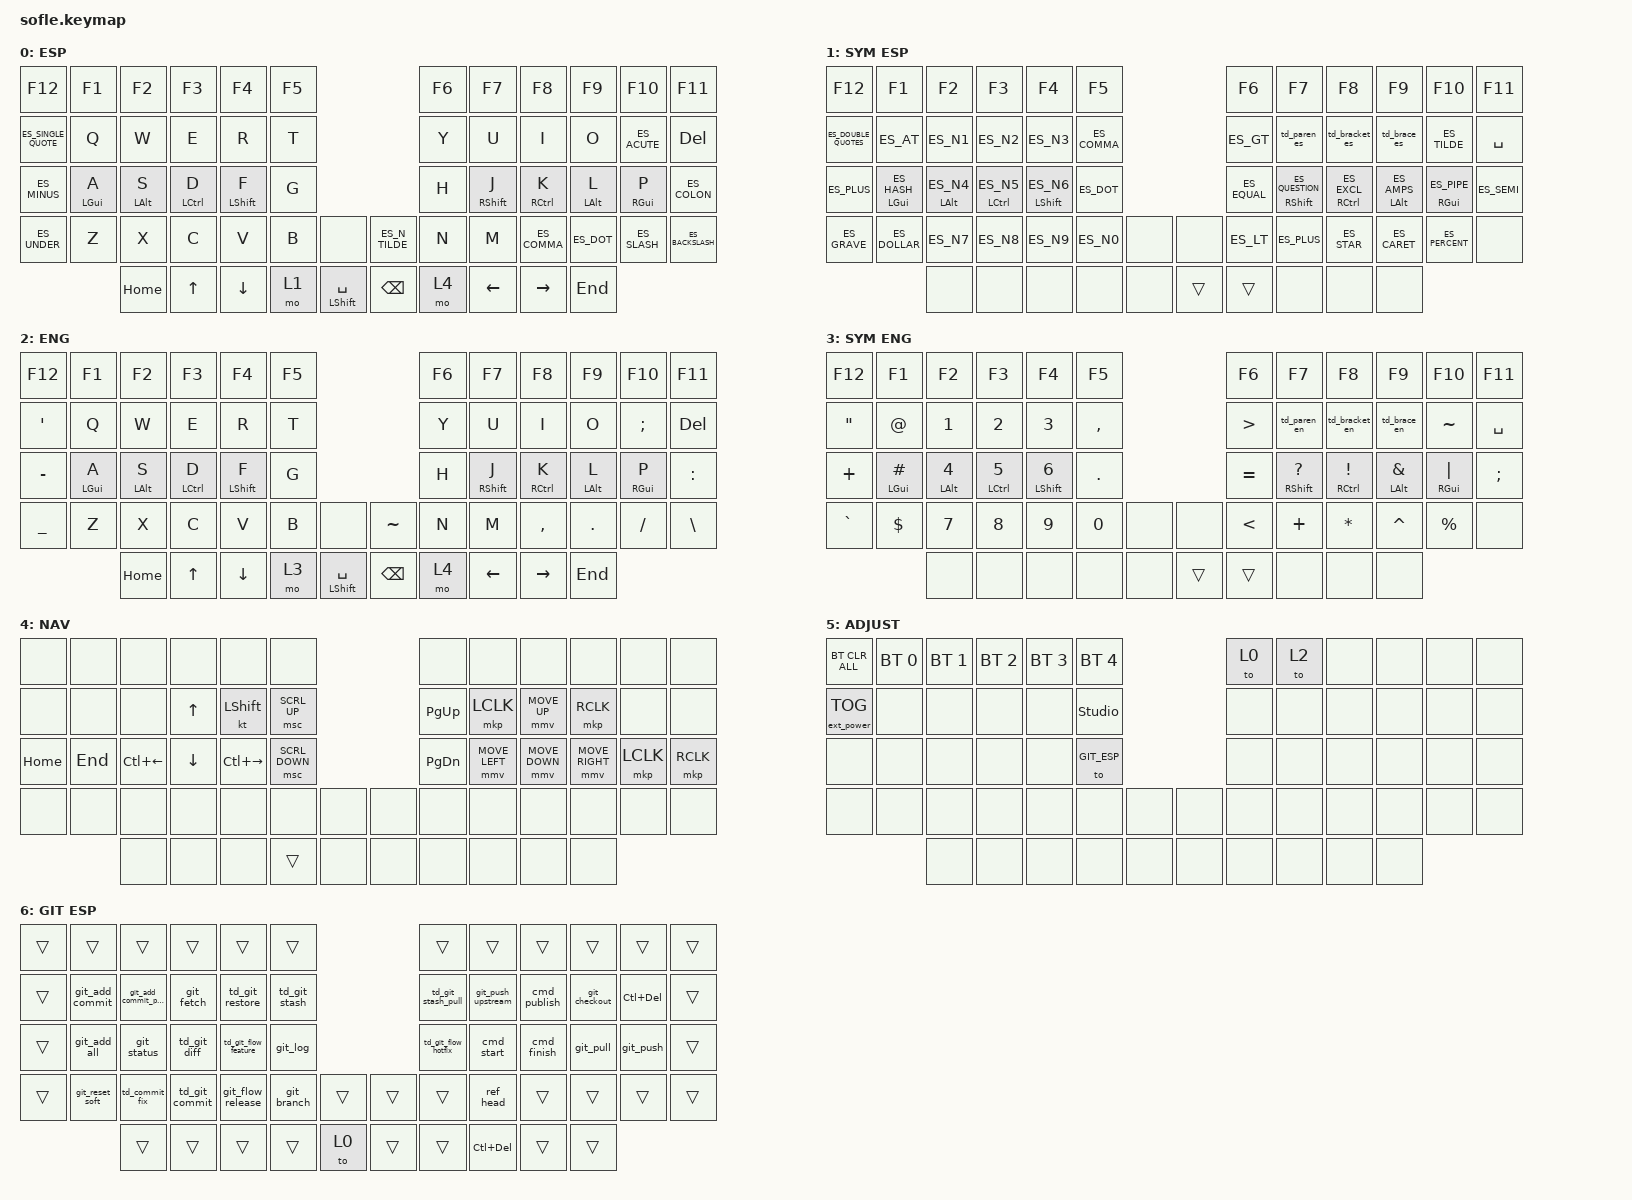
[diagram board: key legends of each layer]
/*
 * Copyright (c) 2020 The ZMK Contributors
 *
 * SPDX-License-Identifier: MIT
 */

#include <behaviors.dtsi>
#include <dt-bindings/zmk/bt.h>
#include <dt-bindings/zmk/ext_power.h>
#include <dt-bindings/zmk/keys.h>
#include <dt-bindings/zmk/pointing.h>
#include "keys_es.h"

#define BASE_ES 0
#define SYMBOLS_ES 1
#define BASE_EN 2
#define SYMBOLS_EN 3
#define RAISE 4
#define ADJUST 5
#define GIT_ESP 6
#define ZMK_POINTING_DEFAULT_MOVE_VAL 1700

&mmv {
    delay-ms = <0>;
    time-to-max-speed-ms = <130>;
    acceleration-exponent = <1>;
    trigger-period-ms = <4>;
};

/ {
    // Activate ADJUST layer by pressing raise and lower

    conditional_layers {
        compatible = "zmk,conditional-layers";

        adjust_layer_es {
            if-layers = <1 4>;
            then-layer = <5>;
        };

        adjust_layer_en {
            if-layers = <3 4>;
            then-layer = <5>;
        };
    };

    combos {
        compatible = "zmk,combos";

        tab {
            bindings = <&kp TAB>;
            key-positions = <45 46>;
        };

        shift_tab {
            bindings = <&kp LS(TAB)>;
            key-positions = <39 40>;
        };

        f6combo {
            bindings = <&kp F6>;
            key-positions = <19 20>;
        };

        shift_f10combo {
            bindings = <&kp LS(F10)>;
            key-positions = <15 16>;
        };

        enter_combo {
            bindings = <&mt RC(RSHFT) ENTER>;
            key-positions = <31 32>;
        };

        escape_combo {
            bindings = <&mt LC(LSHFT) ESCAPE>;
            key-positions = <27 28>;
        };

        caps_lock_combo {
            bindings = <&caps>;
            key-positions = <28 31>;
        };

        shifted_enter_combo {
            bindings = <&mt RC(LEFT_ALT) LS(ENTER)>;
            key-positions = <32 33>;
        };
    };

    /*
     * =================================================================================================================
     *                                     Mapa Visual de Posiciones - Sofle 60 Teclas
     * =================================================================================================================
     * La numeración corresponde al orden en el que las teclas aparecen en el array `bindings`.
     *
     *         Mano Izquierda                          Mano Derecha
     *   0  1  2  3  4  5                                6  7  8  9 10 11
     *  12 13 14 15 16 17                               18 19 20 21 22 23
     *  24 25 26 27 28 29                               30 31 32 33 34 35
     *  36 37 38 39 40 41 42                         43 44 45 46 47 48 49
     *        50 51 52 53 54                         55 56 57 58 59
     * =================================================================================================================
     */

    behaviors {
        lang_toggle: lang_toggle {
            compatible = "zmk,behavior-lang-toggle";
            label = "LANG_TOGGLE";
            #binding-cells = <0>;
        };

        caps: caps {
            compatible = "zmk,behavior-caps-word";
            label = "CAPS";
            #binding-cells = <0>;
            continue-list = <POUND MINUS BACKSPACE UNDERSCORE>;
        };

        // Simple mod-tap para spacebar: tap = space, hold = shift

        mt_space: mod_tap_space {
            compatible = "zmk,behavior-hold-tap";
            label = "MOD_TAP_SPACE";
            #binding-cells = <2>;
            tapping-term-ms = <200>;
            flavor = "tap-preferred";
            bindings = <&kp>, <&kp>;
        };

        // Tap-dance behaviors for opening/closing characters

        td_paren_es: tap_dance_paren_es {
            compatible = "zmk,behavior-tap-dance";
            label = "TAP_DANCE_PAREN_ES";
            #binding-cells = <0>;
            tapping-term-ms = <250>;
            bindings = <&kp ES_LPAR>, <&kp ES_RPAR>;
        };

        td_bracket_es: tap_dance_bracket_es {
            compatible = "zmk,behavior-tap-dance";
            label = "TAP_DANCE_BRACKET_ES";
            #binding-cells = <0>;
            tapping-term-ms = <250>;
            bindings = <&kp ES_LBKT>, <&kp ES_RBKT>;
        };

        td_brace_es: tap_dance_brace_es {
            compatible = "zmk,behavior-tap-dance";
            label = "TAP_DANCE_BRACE_ES";
            #binding-cells = <0>;
            tapping-term-ms = <250>;
            bindings = <&kp ES_LEFT_BRACE>, <&kp ES_RIGHT_BRACE>;
        };

        td_paren_en: tap_dance_paren_en {
            compatible = "zmk,behavior-tap-dance";
            label = "TAP_DANCE_PAREN_EN";
            #binding-cells = <0>;
            tapping-term-ms = <250>;
            bindings = <&kp LEFT_PARENTHESIS>, <&kp RIGHT_PARENTHESIS>;
        };

        td_bracket_en: tap_dance_bracket_en {
            compatible = "zmk,behavior-tap-dance";
            label = "TAP_DANCE_BRACKET_EN";
            #binding-cells = <0>;
            tapping-term-ms = <250>;
            bindings = <&kp LEFT_BRACKET>, <&kp RIGHT_BRACKET>;
        };

        td_brace_en: tap_dance_brace_en {
            compatible = "zmk,behavior-tap-dance";
            label = "TAP_DANCE_BRACE_EN";
            #binding-cells = <0>;
            tapping-term-ms = <250>;
            bindings = <&kp LEFT_BRACE>, <&kp RIGHT_BRACE>;
        };

        /* Comportamiento original para home row mods (balanceado) */

        hm: homerow_mods {
            compatible = "zmk,behavior-hold-tap";
            label = "HOMEROW_MODS";
            #binding-cells = <2>;
            tapping-term-ms = <280>;
            flavor = "balanced";
            bindings = <&kp>, <&kp>;
        };

        /* Positional Home Row Mods (izquierdo) */

        hm_l: homerow_mods_left {
            compatible = "zmk,behavior-hold-tap";
            label = "HOMEROW_MODS_LEFT";
            #binding-cells = <2>;
            tapping-term-ms = <280>;
            flavor = "balanced";
            bindings = <&kp>, <&kp>;

            /* Disparadores: Mano Derecha + Fila Numérica Izquierda + Fila Pulgar Izquierda */

            hold-trigger-key-positions = <
                /* Mano Derecha */
                6 7 8 9 10 11 18 19 20 21 22 23 30 31 32 33 34 35 42 43 44 45 46 47 48 49 55 56 57 58 59
                /* Fila Numérica Izquierda (solapamiento) */
                0 1 2 3 4 5
                /* Fila Pulgar Izquierda (solapamiento) */
                50 51 52 53 54
            >;

            hold-trigger-on-release;
            require-prior-idle-ms = <150>;
        };

        /* Positional Home Row Mods (derecho) */

        hm_r: homerow_mods_right {
            compatible = "zmk,behavior-hold-tap";
            label = "HOMEROW_MODS_RIGHT";
            #binding-cells = <2>;
            tapping-term-ms = <280>;
            flavor = "balanced";
            bindings = <&kp>, <&kp>;

            /* Disparadores: Mano Izquierda + Fila Numérica Derecha + Fila Pulgar Derecha */

            hold-trigger-key-positions = <
                /* Mano Izquierda */
                0 1 2 3 4 5 12 13 14 15 16 17 24 25 26 27 28 29 31 33 36 37 38 39 40 41 42 43 50 51 52 53 54
                /* Fila Numérica Derecha (solapamiento) */
                6 7 8 9 10 11
                /* Fila Pulgar Derecha (solapamiento) */
                55 56 57 58 59
            >;

            hold-trigger-on-release;
            require-prior-idle-ms = <150>;
        };
    };

    macros {
        // Git Atomic Commands

        git_status: git_status {
            compatible = "zmk,behavior-macro";
            #binding-cells = <0>;
            label = "GIT_STATUS";
            bindings = <&kp ES_G &kp ES_I &kp ES_T &kp ES_SPACE &kp ES_S &kp ES_T &kp ES_A &kp ES_T &kp ES_U &kp ES_S &kp ES_SPACE>;
        };

        git_add_all: git_add_all {
            compatible = "zmk,behavior-macro";
            #binding-cells = <0>;
            label = "GIT_ADD_ALL";
            bindings = <&kp ES_G &kp ES_I &kp ES_T &kp ES_SPACE &kp ES_A &kp ES_D &kp ES_D &kp ES_SPACE &kp ES_DOT &kp ES_SPACE>;
        };

        git_commit: git_commit {
            compatible = "zmk,behavior-macro";
            #binding-cells = <0>;
            label = "GIT_COMMIT";
            bindings = <&kp ES_G &kp ES_I &kp ES_T &kp ES_SPACE &kp ES_C &kp ES_O &kp ES_M &kp ES_M &kp ES_I &kp ES_T &kp ES_SPACE &kp ES_MINUS &kp ES_M &kp ES_SPACE &kp ES_DQT &kp ES_DQT &kp LEFT>;
        };

        git_push: git_push {
            compatible = "zmk,behavior-macro";
            #binding-cells = <0>;
            label = "GIT_PUSH";
            bindings = <&kp ES_G &kp ES_I &kp ES_T &kp ES_SPACE &kp ES_P &kp ES_U &kp ES_S &kp ES_H &kp ES_SPACE>;
        };

        git_push_upstream: git_push_upstream {
            compatible = "zmk,behavior-macro";
            #binding-cells = <0>;
            label = "GIT_PUSH_UPSTREAM";
            bindings = <&kp ES_G &kp ES_I &kp ES_T &kp ES_SPACE &kp ES_P &kp ES_U &kp ES_S &kp ES_H &kp ES_SPACE &kp ES_MINUS &kp ES_U &kp ES_SPACE &kp ES_O &kp ES_R &kp ES_I &kp ES_G &kp ES_I &kp ES_N &kp ES_SPACE &kp ES_H &kp ES_E &kp ES_A &kp ES_D &kp ES_SPACE>;
        };

        git_pull: git_pull {
            compatible = "zmk,behavior-macro";
            #binding-cells = <0>;
            label = "GIT_PULL";
            bindings = <&kp ES_G &kp ES_I &kp ES_T &kp ES_SPACE &kp ES_P &kp ES_U &kp ES_L &kp ES_L &kp ES_SPACE>;
        };

        git_fetch: git_fetch {
            compatible = "zmk,behavior-macro";
            #binding-cells = <0>;
            label = "GIT_FETCH";
            bindings = <&kp ES_G &kp ES_I &kp ES_T &kp ES_SPACE &kp ES_F &kp ES_E &kp ES_T &kp ES_C &kp ES_H &kp ES_SPACE>;
        };

        git_diff: git_diff {
            compatible = "zmk,behavior-macro";
            #binding-cells = <0>;
            label = "GIT_DIFF";
            bindings = <&kp ES_G &kp ES_I &kp ES_T &kp ES_SPACE &kp ES_D &kp ES_I &kp ES_F &kp ES_F &kp ES_SPACE>;
        };

        git_stash: git_stash {
            compatible = "zmk,behavior-macro";
            #binding-cells = <0>;
            label = "GIT_STASH";
            bindings = <&kp ES_G &kp ES_I &kp ES_T &kp ES_SPACE &kp ES_S &kp ES_T &kp ES_A &kp ES_S &kp ES_H &kp ES_SPACE>;
        };

        git_branch: git_branch {
            compatible = "zmk,behavior-macro";
            #binding-cells = <0>;
            label = "GIT_BRANCH";
            bindings = <&kp ES_G &kp ES_I &kp ES_T &kp ES_SPACE &kp ES_B &kp ES_R &kp ES_A &kp ES_N &kp ES_C &kp ES_H &kp ES_SPACE>;
        };

        git_log: git_log {
            compatible = "zmk,behavior-macro";
            #binding-cells = <0>;
            label = "GIT_LOG";
            bindings = <&kp ES_G &kp ES_I &kp ES_T &kp ES_SPACE &kp ES_L &kp ES_O &kp ES_G &kp ES_SPACE &kp ES_MINUS &kp ES_MINUS &kp ES_O &kp ES_N &kp ES_E &kp ES_L &kp ES_I &kp ES_N &kp ES_E &kp ES_SPACE &kp ES_MINUS &kp ES_MINUS &kp ES_G &kp ES_R &kp ES_A &kp ES_P &kp ES_H &kp ES_SPACE &kp ES_MINUS &kp ES_MINUS &kp ES_D &kp ES_E &kp ES_C &kp ES_O &kp ES_R &kp ES_A &kp ES_T &kp ES_E &kp ES_SPACE>;
        };

        git_reset_soft: git_reset_soft {
            compatible = "zmk,behavior-macro";
            #binding-cells = <0>;
            label = "GIT_RESET_SOFT";
            bindings = <&kp ES_G &kp ES_I &kp ES_T &kp ES_SPACE &kp ES_R &kp ES_E &kp ES_S &kp ES_E &kp ES_T &kp ES_SPACE &kp ES_MINUS &kp ES_MINUS &kp ES_S &kp ES_O &kp ES_F &kp ES_T &kp ES_SPACE &kp ES_H &kp ES_E &kp ES_A &kp ES_D &kp ES_CARET &kp ES_N1 &kp ES_SPACE>;
        };

        git_checkout: git_checkout {
            compatible = "zmk,behavior-macro";
            #binding-cells = <0>;
            label = "GIT_CHECKOUT";
            bindings = <&kp ES_G &kp ES_I &kp ES_T &kp ES_SPACE &kp ES_C &kp ES_H &kp ES_E &kp ES_C &kp ES_K &kp ES_O &kp ES_U &kp ES_T &kp ES_SPACE>;
        };

        git_restore: git_restore {
            compatible = "zmk,behavior-macro";
            #binding-cells = <0>;
            label = "GIT_RESTORE";
            bindings = <&kp ES_G &kp ES_I &kp ES_T &kp ES_SPACE &kp ES_R &kp ES_E &kp ES_S &kp ES_T &kp ES_O &kp ES_R &kp ES_E &kp ES_SPACE &kp ES_MINUS &kp ES_MINUS &kp ES_S &kp ES_O &kp ES_U &kp ES_R &kp ES_C &kp ES_E &kp ES_EQUAL &kp ES_H &kp ES_E &kp ES_A &kp ES_D &kp ES_SPACE &kp ES_MINUS &kp ES_MINUS &kp ES_SPACE>;
        };

        // Git Workflows

        git_add_commit: git_add_commit {
            compatible = "zmk,behavior-macro";
            #binding-cells = <0>;
            label = "GIT_ADD_COMMIT";
            bindings = <&kp ES_G &kp ES_I &kp ES_T &kp ES_SPACE &kp ES_A &kp ES_D &kp ES_D &kp ES_SPACE &kp ES_DOT &kp ES_SPACE &kp ES_AMPS &kp ES_AMPS &kp ES_SPACE &kp ES_G &kp ES_I &kp ES_T &kp ES_SPACE &kp ES_C &kp ES_O &kp ES_M &kp ES_M &kp ES_I &kp ES_T &kp ES_SPACE &kp ES_MINUS &kp ES_M &kp ES_SPACE &kp ES_DQT &kp ES_DQT &kp LEFT>;
        };

        git_add_commit_push: git_add_commit_push {
            compatible = "zmk,behavior-macro";
            #binding-cells = <0>;
            label = "GIT_ADD_COMMIT_PUSH";
            bindings = <&kp ES_G &kp ES_I &kp ES_T &kp ES_SPACE &kp ES_A &kp ES_D &kp ES_D &kp ES_SPACE &kp ES_DOT &kp ES_SPACE &kp ES_AMPS &kp ES_AMPS &kp ES_SPACE &kp ES_G &kp ES_I &kp ES_T &kp ES_SPACE &kp ES_C &kp ES_O &kp ES_M &kp ES_M &kp ES_I &kp ES_T &kp ES_SPACE &kp ES_MINUS &kp ES_M &kp ES_SPACE &kp ES_DQT &kp ES_DQT &kp ES_SPACE &kp ES_AMPS &kp ES_AMPS &kp ES_SPACE &kp ES_G &kp ES_I &kp ES_T &kp ES_SPACE &kp ES_P &kp ES_U &kp ES_S &kp ES_H &kp ES_SPACE &kp ES_MINUS &kp ES_U &kp ES_SPACE &kp ES_O &kp ES_R &kp ES_I &kp ES_G &kp ES_I &kp ES_N &kp ES_SPACE &kp ES_H &kp ES_E &kp ES_A &kp ES_D &kp LEFT &kp LEFT &kp LEFT &kp LEFT &kp LEFT &kp LEFT &kp LEFT &kp LEFT &kp LEFT &kp LEFT &kp LEFT &kp LEFT &kp LEFT &kp LEFT &kp LEFT &kp LEFT &kp LEFT &kp LEFT &kp LEFT &kp LEFT &kp LEFT &kp LEFT &kp LEFT &kp LEFT &kp LEFT &kp LEFT &kp LEFT &kp LEFT>;
        };

        git_stash_pull_pop: git_stash_pull_pop {
            compatible = "zmk,behavior-macro";
            #binding-cells = <0>;
            label = "GIT_STASH_PULL_POP";
            bindings = <&kp ES_G &kp ES_I &kp ES_T &kp ES_SPACE &kp ES_S &kp ES_T &kp ES_A &kp ES_S &kp ES_H &kp ES_SPACE &kp ES_AMPS &kp ES_AMPS &kp ES_SPACE &kp ES_G &kp ES_I &kp ES_T &kp ES_SPACE &kp ES_P &kp ES_U &kp ES_L &kp ES_L &kp ES_SPACE &kp ES_AMPS &kp ES_AMPS &kp ES_SPACE &kp ES_G &kp ES_I &kp ES_T &kp ES_SPACE &kp ES_S &kp ES_T &kp ES_A &kp ES_S &kp ES_H &kp ES_SPACE &kp ES_P &kp ES_O &kp ES_P &kp ES_SPACE>;
        };

        // Git Flow Prefixes

        git_flow_feature: git_flow_feature {
            compatible = "zmk,behavior-macro";
            #binding-cells = <0>;
            label = "GIT_FLOW_FEATURE";
            bindings = <&kp ES_G &kp ES_I &kp ES_T &kp ES_SPACE &kp ES_F &kp ES_L &kp ES_O &kp ES_W &kp ES_SPACE &kp ES_F &kp ES_E &kp ES_A &kp ES_T &kp ES_U &kp ES_R &kp ES_E &kp ES_SPACE>;
        };

        git_flow_release: git_flow_release {
            compatible = "zmk,behavior-macro";
            #binding-cells = <0>;
            label = "GIT_FLOW_RELEASE";
            bindings = <&kp ES_G &kp ES_I &kp ES_T &kp ES_SPACE &kp ES_F &kp ES_L &kp ES_O &kp ES_W &kp ES_SPACE &kp ES_R &kp ES_E &kp ES_L &kp ES_E &kp ES_A &kp ES_S &kp ES_E &kp ES_SPACE>;
        };

        git_flow_hotfix: git_flow_hotfix {
            compatible = "zmk,behavior-macro";
            #binding-cells = <0>;
            label = "GIT_FLOW_HOTFIX";
            bindings = <&kp ES_G &kp ES_I &kp ES_T &kp ES_SPACE &kp ES_F &kp ES_L &kp ES_O &kp ES_W &kp ES_SPACE &kp ES_H &kp ES_O &kp ES_T &kp ES_F &kp ES_I &kp ES_X &kp ES_SPACE>;
        };

        // Control Commands

        cmd_start: cmd_start {
            compatible = "zmk,behavior-macro";
            #binding-cells = <0>;
            label = "CMD_START";
            bindings = <&kp ES_S &kp ES_T &kp ES_A &kp ES_R &kp ES_T &kp ES_SPACE>;
        };

        cmd_finish: cmd_finish {
            compatible = "zmk,behavior-macro";
            #binding-cells = <0>;
            label = "CMD_FINISH";
            bindings = <&kp ES_F &kp ES_I &kp ES_N &kp ES_I &kp ES_S &kp ES_H &kp ES_SPACE>;
        };

        cmd_publish: cmd_publish {
            compatible = "zmk,behavior-macro";
            #binding-cells = <0>;
            label = "CMD_PUBLISH";
            bindings = <&kp ES_P &kp ES_U &kp ES_B &kp ES_L &kp ES_I &kp ES_S &kp ES_H &kp ES_SPACE>;
        };

        // References

        ref_head: ref_head {
            compatible = "zmk,behavior-macro";
            #binding-cells = <0>;
            label = "REF_HEAD";
            bindings = <&kp ES_H &kp ES_E &kp ES_A &kp ES_D &kp ES_SPACE>;
        };

        // Conventional Commit Prefixes

        commit_feat: commit_feat {
            compatible = "zmk,behavior-macro";
            #binding-cells = <0>;
            label = "COMMIT_FEAT";
            bindings = <&kp ES_F &kp ES_E &kp ES_A &kp ES_T &kp ES_COLON &kp ES_SPACE>;
        };

        commit_fix: commit_fix {
            compatible = "zmk,behavior-macro";
            #binding-cells = <0>;
            label = "COMMIT_FIX";
            bindings = <&kp ES_F &kp ES_I &kp ES_X &kp ES_COLON &kp ES_SPACE>;
        };

        commit_refactor: commit_refactor {
            compatible = "zmk,behavior-macro";
            #binding-cells = <0>;
            label = "COMMIT_REFACTOR";
            bindings = <&kp ES_R &kp ES_E &kp ES_F &kp ES_A &kp ES_C &kp ES_T &kp ES_O &kp ES_R &kp ES_COLON &kp ES_SPACE>;
        };

        commit_docs: commit_docs {
            compatible = "zmk,behavior-macro";
            #binding-cells = <0>;
            label = "COMMIT_DOCS";
            bindings = <&kp ES_D &kp ES_O &kp ES_C &kp ES_S &kp ES_COLON &kp ES_SPACE>;
        };

        commit_style: commit_style {
            compatible = "zmk,behavior-macro";
            #binding-cells = <0>;
            label = "COMMIT_STYLE";
            bindings = <&kp ES_S &kp ES_T &kp ES_Y &kp ES_L &kp ES_E &kp ES_COLON &kp ES_SPACE>;
        };

        commit_test: commit_test {
            compatible = "zmk,behavior-macro";
            #binding-cells = <0>;
            label = "COMMIT_TEST";
            bindings = <&kp ES_T &kp ES_E &kp ES_S &kp ES_T &kp ES_COLON &kp ES_SPACE>;
        };

        commit_chore: commit_chore {
            compatible = "zmk,behavior-macro";
            #binding-cells = <0>;
            label = "COMMIT_CHORE";
            bindings = <&kp ES_C &kp ES_H &kp ES_O &kp ES_R &kp ES_E &kp ES_COLON &kp ES_SPACE>;
        };

        // Tap Dance Behaviors for Git Flow and Conventional Commits

        td_git_flow_feature: td_git_flow_feature {
            compatible = "zmk,behavior-tap-dance";
            #binding-cells = <0>;
            label = "TD_GIT_FLOW_FEATURE";
            tapping-term-ms = <250>;
            bindings = <&git_flow_feature>, <&commit_feat>;
        };

        td_git_flow_hotfix: td_git_flow_hotfix {
            compatible = "zmk,behavior-tap-dance";
            #binding-cells = <0>;
            label = "TD_GIT_FLOW_HOTFIX";
            tapping-term-ms = <250>;
            bindings = <&git_flow_hotfix>, <&commit_fix>;
        };

        td_git_diff: td_git_diff {
            compatible = "zmk,behavior-tap-dance";
            #binding-cells = <0>;
            label = "TD_GIT_DIFF";
            tapping-term-ms = <250>;
            bindings = <&git_diff>, <&commit_docs>;
        };

        td_git_stash: td_git_stash {
            compatible = "zmk,behavior-tap-dance";
            #binding-cells = <0>;
            label = "TD_GIT_STASH";
            tapping-term-ms = <250>;
            bindings = <&git_stash>, <&commit_style>;
        };

        td_git_restore: td_git_restore {
            compatible = "zmk,behavior-tap-dance";
            #binding-cells = <0>;
            label = "TD_GIT_RESTORE";
            tapping-term-ms = <250>;
            bindings = <&git_restore>, <&commit_refactor>;
        };

        td_git_stash_pull: td_git_stash_pull {
            compatible = "zmk,behavior-tap-dance";
            #binding-cells = <0>;
            label = "TD_GIT_STASH_PULL";
            tapping-term-ms = <250>;
            bindings = <&git_stash>, <&commit_test>;
        };

        td_git_commit: td_git_commit {
            compatible = "zmk,behavior-tap-dance";
            #binding-cells = <0>;
            label = "TD_GIT_COMMIT";
            tapping-term-ms = <250>;
            bindings = <&git_commit>, <&commit_chore>;
        };

        td_commit_fix: td_commit_fix {
            compatible = "zmk,behavior-tap-dance";
            #binding-cells = <0>;
            label = "TD_COMMIT_FIX";
            tapping-term-ms = <250>;
            bindings = <&kp ES_X>, <&commit_fix>;
        };
    };

    keymap {
        compatible = "zmk,keymap";

        esp_layer {
            display-name = "ESP";
            bindings = <
&kp F12              &kp F1            &kp F2            &kp F3                &kp F4              &kp F5                                            &kp F6  &kp F7               &kp F8                 &kp F9            &kp F10            &kp F11
&kp ES_SINGLE_QUOTE  &kp Q             &kp W             &kp E                 &kp R               &kp T                                             &kp Y   &kp U                &kp I                  &kp O             &kp ES_ACUTE       &kp DELETE
&kp ES_MINUS         &hm_l LEFT_GUI A  &hm_l LEFT_ALT S  &hm_l LEFT_CONTROL D  &hm_l LEFT_SHIFT F  &kp G                                             &kp H   &hm_r RIGHT_SHIFT J  &hm_r RIGHT_CONTROL K  &hm_r LEFT_ALT L  &hm_r RIGHT_GUI P  &kp ES_COLON
&kp ES_UNDER         &kp Z             &kp X             &kp C                 &kp V               &kp B   &none                     &kp ES_N_TILDE  &kp N   &kp M                &kp ES_COMMA           &kp ES_DOT        &kp ES_SLASH       &kp ES_BACKSLASH
                                       &kp HOME          &kp UP_ARROW          &kp DOWN_ARROW      &mo 1   &mt_space LSHIFT SPACE    &kp BACKSPACE   &mo 4   &kp LEFT_ARROW       &kp RIGHT_ARROW        &kp END
            >;
        };

        sym_esp_layer {
            display-name = "SYM ESP";
            bindings = <
&kp F12               &kp F1                &kp F2              &kp F3                  &kp F4                &kp F5                                               &kp F6        &kp F7                       &kp F8                     &kp F9            &kp F10                &kp F11
&kp ES_DOUBLE_QUOTES  &kp ES_AT             &kp ES_N1           &kp ES_N2               &kp ES_N3             &kp ES_COMMA                    &kp ES_GT     &td_paren_es                 &td_bracket_es             &td_brace_es      &kp ES_TILDE           &kp SPACE
&kp ES_PLUS           &hm LEFT_GUI ES_HASH  &hm LEFT_ALT ES_N4  &hm LEFT_CONTROL ES_N5  &hm LEFT_SHIFT ES_N6  &kp ES_DOT                   &kp ES_EQUAL  &hm RIGHT_SHIFT ES_QUESTION  &hm RIGHT_CONTROL ES_EXCL  &hm LALT ES_AMPS  &hm RIGHT_GUI ES_PIPE  &kp ES_SEMI
&kp ES_GRAVE          &kp ES_DOLLAR         &kp ES_N7           &kp ES_N8               &kp ES_N9             &kp ES_N0                           &none    &none   &kp ES_LT     &kp ES_PLUS                  &kp ES_STAR                &kp ES_CARET      &kp ES_PERCENT         &none
                                            &none               &none                   &none                 &none                               &none    &trans  &trans        &none                        &none                      &none
            >;
        };

        eng_layer {
            display-name = "ENG";
            bindings = <
&kp F12    &kp F1            &kp F2            &kp F3                &kp F4              &kp F5                                           &kp F6  &kp F7               &kp F8                 &kp F9            &kp F10            &kp F11
&kp SQT    &kp Q             &kp W             &kp E                 &kp R               &kp T                                            &kp Y   &kp U                &kp I                  &kp O             &kp SEMI           &kp DELETE
&kp MINUS  &hm_l LEFT_GUI A  &hm_l LEFT_ALT S  &hm_l LEFT_CONTROL D  &hm_l LEFT_SHIFT F  &kp G                                            &kp H   &hm_r RIGHT_SHIFT J  &hm_r RIGHT_CONTROL K  &hm_r LEFT_ALT L  &hm_r RIGHT_GUI P  &kp COLON
&kp UNDER  &kp Z             &kp X             &kp C                 &kp V               &kp B   &none                     &kp TILDE      &kp N   &kp M                &kp COMMA              &kp DOT           &kp SLASH          &kp BACKSLASH
                             &kp HOME          &kp UP_ARROW          &kp DOWN_ARROW      &mo 3   &mt_space LSHIFT SPACE    &kp BACKSPACE  &mo 4   &kp LEFT_ARROW       &kp RIGHT_ARROW        &kp END
            >;
        };

        sym_eng_layer {
            display-name = "SYM ENG";
            bindings = <
&kp F12    &kp F1             &kp F2                 &kp F3               &kp F4                   &kp F5                     &kp F6            &kp F7                    &kp F8                  &kp F9         &kp F10             &kp F11
&kp DQT    &kp AT             &kp NUMBER_1           &kp NUMBER_2         &kp NUMBER_3             &kp COMMA                   &kp GREATER_THAN  &td_paren_en              &td_bracket_en          &td_brace_en   &kp TILDE           &kp SPACE
&kp PLUS   &hm LEFT_GUI HASH  &hm LEFT_ALT NUMBER_4  &hm LEFT_CONTROL N5  &hm LEFT_SHIFT NUMBER_6  &kp DOT                   &kp EQUAL         &hm RIGHT_SHIFT QUESTION  &hm RIGHT_CONTROL EXCL  &hm LALT AMPS  &hm RIGHT_GUI PIPE  &kp SEMI
&kp GRAVE  &kp DOLLAR         &kp N7                 &kp N8               &kp N9                   &kp N0    &none    &none   &kp LESS_THAN     &kp PLUS                  &kp STAR                &kp CARET      &kp PERCENT         &none
                              &none                  &none                &none                    &none     &none    &trans  &trans            &none                     &none                   &none
            >;
        };

        nav_layer {
            display-name = "NAV";
            bindings = <
&none     &none    &none         &none           &none          &none                           &none      &none           &none           &none            &none      &none
&none     &none    &none         &kp UP_ARROW    &kt LSHIFT     &msc SCRL_UP                    &kp PG_UP  &mkp LCLK       &mmv MOVE_UP    &mkp RCLK        &none      &none
&kp HOME  &kp END  &kp LC(LEFT)  &kp DOWN_ARROW  &kp LC(RIGHT)  &msc SCRL_DOWN                  &kp PG_DN  &mmv MOVE_LEFT  &mmv MOVE_DOWN  &mmv MOVE_RIGHT  &mkp LCLK  &mkp RCLK
&none     &none    &none         &none           &none          &none           &none    &none  &none      &none           &none           &none            &none      &none
                   &none         &none           &none          &trans          &none    &none  &none      &none           &none           &none
            >;
        };

        adjust_layer {
            display-name = "ADJUST";
            bindings = <
&bt BT_CLR_ALL     &bt BT_SEL 0  &bt BT_SEL 1  &bt BT_SEL 2  &bt BT_SEL 3  &bt BT_SEL 4                    &to 0  &to 2  &none  &none  &none  &none
&ext_power EP_TOG  &none         &none         &none         &none         &studio_unlock                  &none  &none  &none  &none  &none  &none
&none              &none         &none         &none         &none         &to GIT_ESP                     &none  &none  &none  &none  &none  &none
&none              &none         &none         &none         &none         &none           &none    &none  &none  &none  &none  &none  &none  &none
                                 &none         &none         &none         &none           &none    &none  &none  &none  &none  &none
            >;
        };

    git_esp_layer {
        display-name = "GIT ESP";
        bindings = <
&trans  &trans           &trans                &trans          &trans                &trans                         &trans               &trans              &trans        &trans         &trans     &trans
&trans              &git_add_commit   &git_add_commit_push &git_fetch        &td_git_restore     &td_git_stash                                &td_git_stash_pull  &git_push_upstream   &cmd_publish           &git_checkout     &kp LC(DELETE)     &trans
&trans  &git_add_all     &git_status           &td_git_diff    &td_git_flow_feature  &git_log                       &td_git_flow_hotfix  &cmd_start          &cmd_finish   &git_pull      &git_push  &trans
&trans  &git_reset_soft  &td_commit_fix        &td_git_commit  &git_flow_release     &git_branch  &trans    &trans  &trans               &ref_head           &trans        &trans         &trans     &trans
                         &trans                &trans          &trans                &trans       &to 0     &trans  &trans               &kp LC(DELETE)      &trans        &trans
            >;
        };
    };
};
